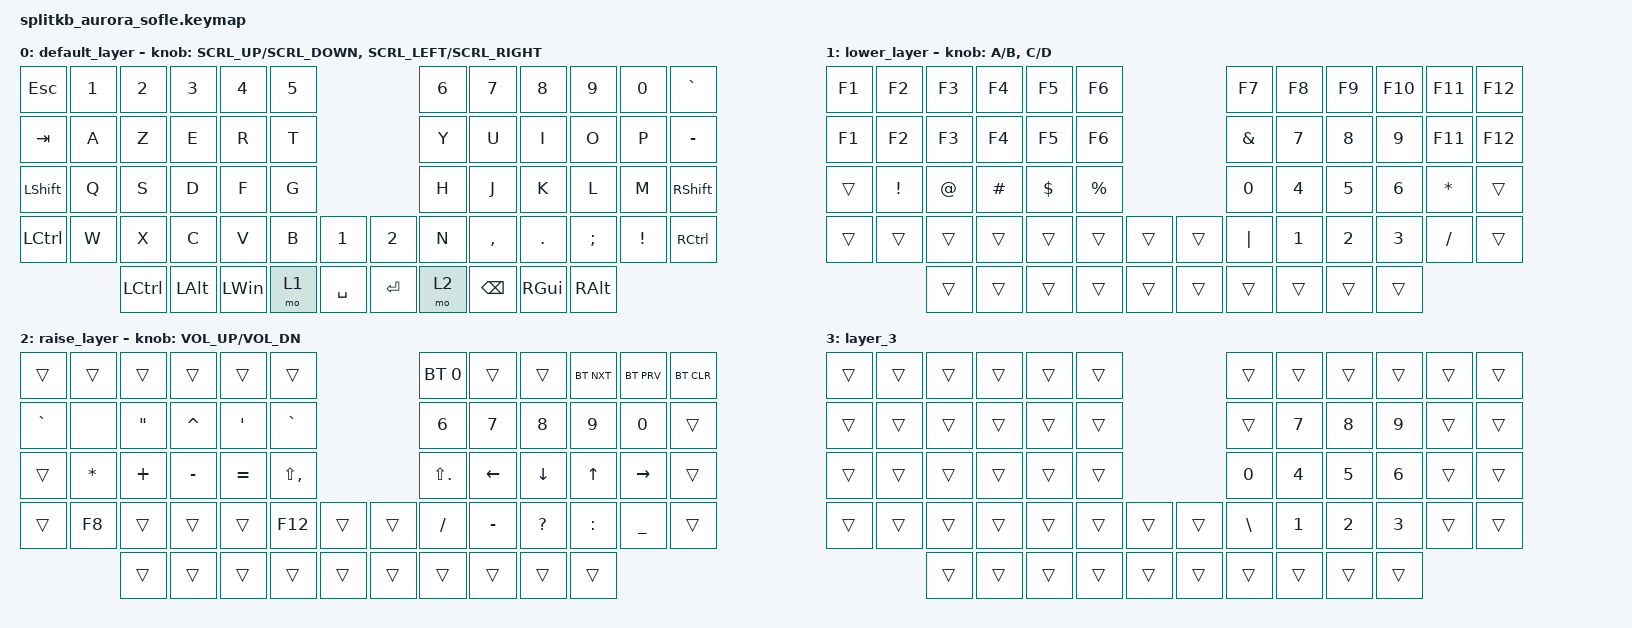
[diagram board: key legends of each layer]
/*
 * Copyright (c) 2023 The ZMK Contributors
 *
 * SPDX-License-Identifier: MIT
 */

#define ZMK_POINTING_DEFAULT_SCRL_VAL 70    // default: 10

// #include <dt-bindings/zmk/mouse.h>

#include <behaviors.dtsi>
#include <dt-bindings/zmk/bt.h>
#include <dt-bindings/zmk/keys.h>
#include <dt-bindings/zmk/pointing.h>

// #include "mouse.dtsi"
/* Uncomment this block if using RGB
&led_strip {
    chain-length = <6>;
    // chain-length = <35>; // Uncomment if using both per-key and underglow LEDs
    // chain-length = <29>; // Uncomment if using only per-key LEDs.
};
 */

&mt {
    flavor = "balanced";
    tapping-term-ms = <250>;
    require-prior-idle-ms = <125>;
    quick-tap-ms = <175>;
};

&left_encoder { steps = <144>; };

&right_encoder { steps = <144>; };

&sensors { triggers-per-rotation = <72>; };

/ {
    combos {
        compatible = "zmk,combos";

        eaigu {
            bindings = <&kp RA(E)>;
            key-positions = <15 16>;
        };

        egrave {
            bindings = <&egrave>;
            key-positions = <15 14>;
        };

        ecirconflexe {
            bindings = <&ecirconflexe>;
            key-positions = <15 28>;
        };

        agrave {
            bindings = <&agrave>;
            key-positions = <13 14>;
        };

        ccedille {
            bindings = <&kp RA(COMMA)>;
            key-positions = <39 40>;
        };

        ugrave {
            bindings = <&ugrave>;
            key-positions = <19 20>;
        };

        parentheseLEFT {
            bindings = <&kp LPAR>;
            key-positions = <28 27>;
        };

        parentheseRIGHT {
            bindings = <&kp RPAR>;
            key-positions = <31 32>;
        };

        bracketLEFT {
            bindings = <&kp LBKT>;
            key-positions = <27 26>;
        };

        bracketRIGHT {
            bindings = <&kp RIGHT_BRACKET>;
            key-positions = <32 33>;
        };

        bracesLEFT {
            bindings = <&kp LBRC>;
            key-positions = <26 25>;
        };

        bracesRIGHT {
            bindings = <&kp RBRC>;
            key-positions = <34 33>;
        };

        apos {
            bindings = <&appostrophe>;
            key-positions = <45 46>;
        };

        lshift {
            bindings = <&kp LSHFT>;
            key-positions = <52 40>;
        };

        rshift {
            bindings = <&kp RSHFT>;
            key-positions = <57 45>;
        };

        capsWord {
            bindings = <&caps_word>;
            key-positions = <52 40 57 45>;
        };

        delete {
            bindings = <&kp DEL>;
            key-positions = <57 32>;
        };

        double_apos {
            bindings = <&doubleaposANDleftmove>;
            key-positions = <45 46 47>;
        };
    };

    macros {
        ecirconflexe: ecirconflexe {
            compatible = "zmk,behavior-macro";
            #binding-cells = <0>;
            bindings = <&kp CARET &kp E>;
            label = "ECIRCONFLEXE";
        };

        egrave: egrave {
            compatible = "zmk,behavior-macro";
            #binding-cells = <0>;
            bindings = <&kp GRAVE &kp E>;
            label = "EGRAVE";
        };

        agrave: agrave {
            compatible = "zmk,behavior-macro";
            #binding-cells = <0>;
            bindings = <&kp GRAVE &kp A>;
            label = "AGRAVE";
        };

        ugrave: ugrave {
            compatible = "zmk,behavior-macro";
            #binding-cells = <0>;
            bindings = <&kp GRAVE &kp U>;
            label = "UGRAVE";
        };

        appostrophe: appostrophe {
            compatible = "zmk,behavior-macro";
            #binding-cells = <0>;
            bindings = <&kp APOS &kp SPACE>;
            label = "APPOSTROPHE";
        };

        doubleaposANDleftmove: doubleaposANDleftmove {
            compatible = "zmk,behavior-macro";
            #binding-cells = <0>;
            bindings = <&kp LS(APOS) &kp LS(APOS) &kp LEFT>;
            label = "DOUBLEAPOSANDLEFTMOVE";
        };
    };

    behaviors {
        testmousescroll: testmousescroll {
            compatible = "zmk,behavior-sensor-rotate";
            label = "TESTMOUSESCROLL";
            #sensor-binding-cells = <0>;
            bindings = <&msc SCRL_UP>, <&msc SCRL_DOWN>;
        };

        mouse_scroll: mouse_wheel_scrl {
            compatible = "zmk,behavior-sensor-rotate-var";
            #sensor-binding-cells = <2>;
            bindings = <&msc>, <&msc>;

            tap-ms = <30>;
        };

        scroll_vertical: scroll_vertical {
            compatible = "zmk,behavior-sensor-rotate";
            #sensor-binding-cells = <0>;
            bindings = <&msc SCRL_UP>, <&msc SCRL_DOWN>;

            tap-ms = <20>;
        };

        scroll_horizontal: scroll_horizontal {
            compatible = "zmk,behavior-sensor-rotate";
            #sensor-binding-cells = <0>;
            bindings = <&msc SCRL_RIGHT>, <&msc SCRL_LEFT>;

            tap-ms = <20>;
        };
    };

    keymap {
        compatible = "zmk,keymap";

        default_layer {
            // ------------------------------------------------------------------------------------------------------------
            // |  ESC  |  1  |  2  |  3   |  4   |  5   |                   |  6   |  7    |  8    |  9   |   0   |   `   |
            // |  TAB  |  Q  |  W  |  E   |  R   |  T   |                   |  Y   |  U    |  I    |  O   |   P   |   -   |
            // |  CTRL |  A  |  S  |  D   |  F   |  G   |                   |  H   |  J    |  K    |  L   |   ;   |   '   |
            // | SHIFT |  Z  |  X  |  C   |  V   |  B   |   "["  |  |  "]"  |  N   |  M    |  ,    |  .   |   /   | SHIFT |
            //               |CTRL | ALT  | GUI  | LOWER|  SPACE |  | ENTER | RAISE| BSPC  | GUI   | RALT |

            bindings = <
&kp ESC         &kp N1  &kp N2     &kp N3    &kp N4        &kp N5                        &kp N6  &kp N7     &kp N8    &kp N9    &kp N0           &kp GRAVE
&kp TAB         &kp A   &kp Z      &kp E     &kp R         &kp T                         &kp Y   &kp U      &kp I     &kp O     &kp P            &kp MINUS
&kp LEFT_SHIFT  &kp Q   &kp S      &kp D     &kp F         &kp G                         &kp H   &kp J      &kp K     &kp L     &kp M            &kp RIGHT_SHIFT
&kp LCTRL       &kp W   &kp X      &kp C     &kp V         &kp B   &kp N1       &kp N2   &kp N   &kp COMMA  &kp DOT   &kp SEMI  &kp EXCLAMATION  &kp RCTRL
                        &kp LCTRL  &kp LALT  &kp LEFT_WIN  &mo 1   &kp SPACE    &kp RET  &mo 2   &kp BSPC   &kp RGUI  &kp RALT
            >;

            sensor-bindings =
                <&mouse_scroll SCRL_UP SCRL_DOWN>,
                <&mouse_scroll SCRL_LEFT SCRL_RIGHT>;
        };

        lower_layer {
            // ------------------------------------------------------------------------------------------------------------
            // | BTCLR | BT1 | BT2 |  BT3 |  BT4 |  BT5 |                   |      |       |       |      |       |       |
            // |  F1   |  F2 |  F3 |  F4  |  F5  |  F6  |                   |  F7  |  F8   |  F9   |  F10 |  F11  |  F12  |
            // |   `   |  !  |  @  |  #   |  $   |  %   |                   |  ^   |  &    |  *    |  (   |   )   |   ~   |
            // |       |     |     |      |      |      |        |  |       |      |  _    |  +    |  {   |   }   |  "|"  |
            //               |     |      |      |      |        |  |       |      |       |       |      |

            bindings = <
&kp F1  &kp F2    &kp F3  &kp F4    &kp F5      &kp F6                       &kp F7    &kp F8  &kp F9  &kp F10  &kp F11    &kp F12
&kp F1  &kp F2    &kp F3  &kp F4    &kp F5      &kp F6                       &kp AMPS  &kp N7  &kp N8  &kp N9   &kp F11    &kp F12
&trans  &kp EXCL  &kp AT  &kp HASH  &kp DOLLAR  &kp PRCNT                    &kp N0    &kp N4  &kp N5  &kp N6   &kp ASTRK  &trans
&trans  &trans    &trans  &trans    &trans      &trans     &trans    &trans  &kp PIPE  &kp N1  &kp N2  &kp N3   &kp SLASH  &trans
                  &trans  &trans    &trans      &trans     &trans    &trans  &trans    &trans  &trans  &trans
            >;

            sensor-bindings = <&inc_dec_kp A B
                               &inc_dec_kp C D>;
        };

        raise_layer {
            // ------------------------------------------------------------------------------------------------------------
            // |       |     |     |      |      |      |                   |      |       |       |      |       |       |
            // |   `   |  1  |  2  |  3   |  4   |  5   |                   |  6   |   7   |   8   |  9   |   0   |       |
            // |   F1  |  F2 |  F3 |  F4  |  F5  |  F6  |                   |      |   <-  |   v   |  ^   |  ->   |       |
            // |   F7  |  F8 |  F9 |  F10 |  F11 |  F12 |        |  |       |  +   |   -   |   =   |  [   |   ]   |   \   |
            //               |     |      |      |      |        |  |       |      |       |       |      |

            bindings = <
&trans     &trans     &trans    &trans     &trans     &trans                           &bt BT_SEL 0  &trans     &trans        &bt BT_NXT  &bt BT_PRV  &bt BT_CLR
&kp GRAVE  &none      &kp DQT   &kp CARET  &kp APOS   &kp GRAVE                        &kp N6        &kp N7     &kp N8        &kp N9      &kp N0      &trans
&trans     &kp ASTRK  &kp PLUS  &kp MINUS  &kp EQUAL  &kp LS(COMMA)                    &kp LS(DOT)   &kp LEFT   &kp DOWN      &kp UP      &kp RIGHT   &trans
&trans     &kp F8     &trans    &trans     &trans     &kp F12        &trans    &trans  &kp SLASH     &kp MINUS  &kp QUESTION  &kp COLON   &kp UNDER   &trans
                      &trans    &trans     &trans     &trans         &trans    &trans  &trans        &trans     &trans        &trans
            >;

            sensor-bindings = <&inc_dec_kp C_VOL_UP C_VOL_DN>;
        };

        layer_3 {
            bindings = <
&trans  &trans  &trans  &trans  &trans  &trans                    &trans         &trans  &trans  &trans  &trans  &trans
&trans  &trans  &trans  &trans  &trans  &trans                    &trans         &kp N7  &kp N8  &kp N9  &trans  &trans
&trans  &trans  &trans  &trans  &trans  &trans                    &kp N0         &kp N4  &kp N5  &kp N6  &trans  &trans
&trans  &trans  &trans  &trans  &trans  &trans  &trans    &trans  &kp BACKSLASH  &kp N1  &kp N2  &kp N3  &trans  &trans
                &trans  &trans  &trans  &trans  &trans    &trans  &trans         &trans  &trans  &trans
            >;
        };
    };

    conditional_layers {
        compatible = "zmk,conditional-layers";

        Layer3 {
            if-layers = <1 2>;
            then-layer = <3>;
        };
    };
};
